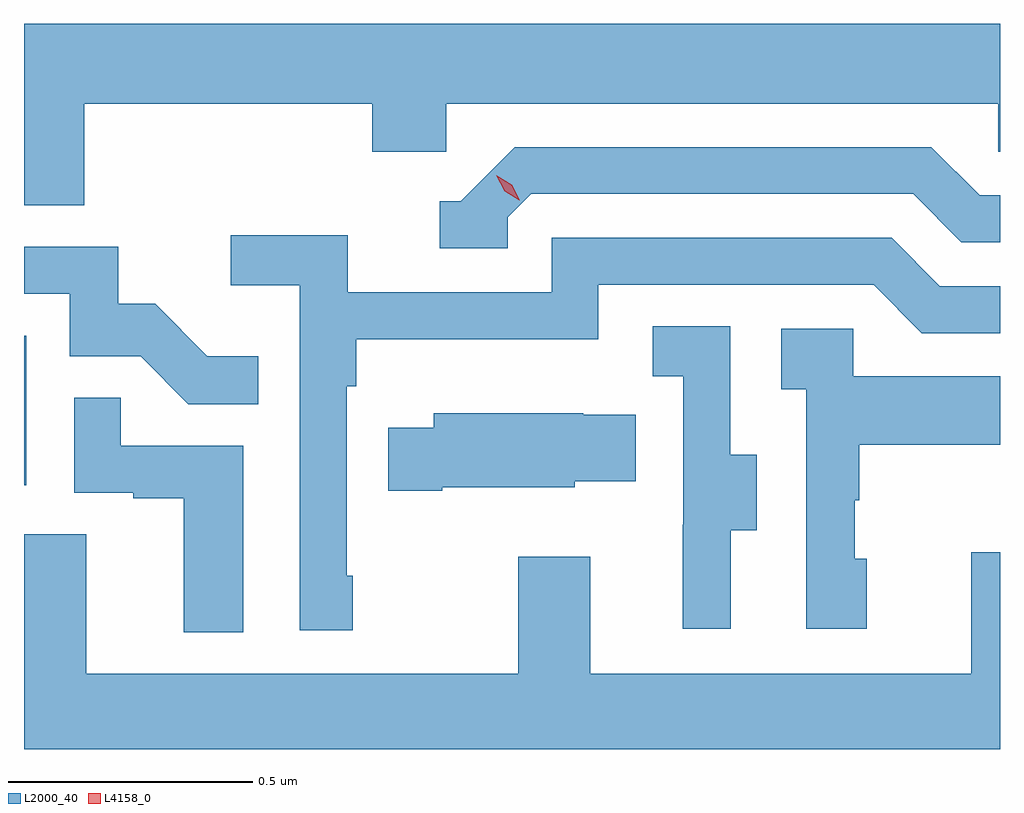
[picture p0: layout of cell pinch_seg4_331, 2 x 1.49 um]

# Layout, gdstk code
import gdstk
lib = gdstk.Library(unit=1e-6, precision=1e-09)
def R(c, l, rs):  # rectangles x0, y0, x1, y1
    for r in rs: c.add(gdstk.rectangle(r[:2], r[2:], *l))
def P(c, l, *ps):  # polygons
    for p in ps: c.add(gdstk.Polygon(p, *l))
L2000_40 = (2000, 40)
L4158_0 = (4158, 0)

pinch_seg4_331 = lib.new_cell('pinch_seg4_331')
R(pinch_seg4_331, L2000_40, [(900.521,793.374,900.526,793.681)])
P(pinch_seg4_331, L2000_40, [(900.521,793.948),(900.644,793.948),(900.644,794.156),(901.235,794.156),(901.235,794.058),(901.386,794.058),(901.386,794.156),(902.517,794.156),(902.517,794.058),(902.521,794.058),(902.521,794.32),(900.521,794.32)],
  [(901.512,793.923),(901.56,793.971),(902.343,793.971),(902.442,793.872),(902.521,793.872),(902.521,793.968),(902.479,793.968),(902.38,794.067),(901.527,794.067),(901.416,793.956),(901.373,793.956),(901.373,793.86),(901.512,793.86)],
  [(901.195,793.189),(901.182,793.189),(901.182,793.577),(901.202,793.577),(901.202,793.673),(901.698,793.673),(901.698,793.785),(902.262,793.785),(902.361,793.686),(902.521,793.686),(902.521,793.782),(902.398,793.782),(902.299,793.881),(901.602,793.881),(901.602,793.77),(901.184,793.77),(901.184,793.886),(900.945,793.886),(900.945,793.784),(901.086,793.784),(901.086,793.077),(901.195,793.077)],
  [(901.001,793.639),(900.897,793.639),(900.79,793.746),(900.714,793.746),(900.714,793.863),(900.521,793.863),(900.521,793.767),(900.615,793.767),(900.615,793.638),(900.76,793.638),(900.858,793.54),(901.001,793.54)],
  [(901.969,793.282),(902.023,793.282),(902.023,793.437),(901.968,793.437),(901.968,793.7),(901.809,793.7),(901.809,793.597),(901.872,793.597),(901.872,793.293),(901.871,793.293),(901.871,793.08),(901.969,793.08)],
  [(902.248,793.224),(902.223,793.224),(902.223,793.343),(902.233,793.343),(902.233,793.457),(902.521,793.457),(902.521,793.597),(902.22,793.597),(902.22,793.695),(902.073,793.695),(902.073,793.571),(902.124,793.571),(902.124,793.08),(902.248,793.08)],
  [(900.97,793.455),(900.719,793.455),(900.719,793.553),(900.624,793.553),(900.624,793.359),(900.745,793.359),(900.745,793.347),(900.848,793.347),(900.848,793.073),(900.97,793.073)],
  [(901.378,793.37),(901.65,793.37),(901.65,793.382),(901.775,793.382),(901.775,793.519),(901.667,793.519),(901.667,793.522),(901.361,793.522),(901.361,793.492),(901.267,793.492),(901.267,793.363),(901.378,793.363)],
  [(902.521,793.237),(902.462,793.237),(902.462,792.988),(901.681,792.988),(901.681,793.228),(901.534,793.228),(901.534,792.988),(900.649,792.988),(900.649,793.274),(900.521,793.274),(900.521,792.833),(902.521,792.833)])
P(pinch_seg4_331, L4158_0, [(901.536,793.958),(901.506,793.977),(901.489,794.009),(901.489,794.009),(901.489,794.009),(901.52,793.99),(901.537,793.958),(901.537,793.958)])

lib.write_gds('pinch_seg4_331.gds')
